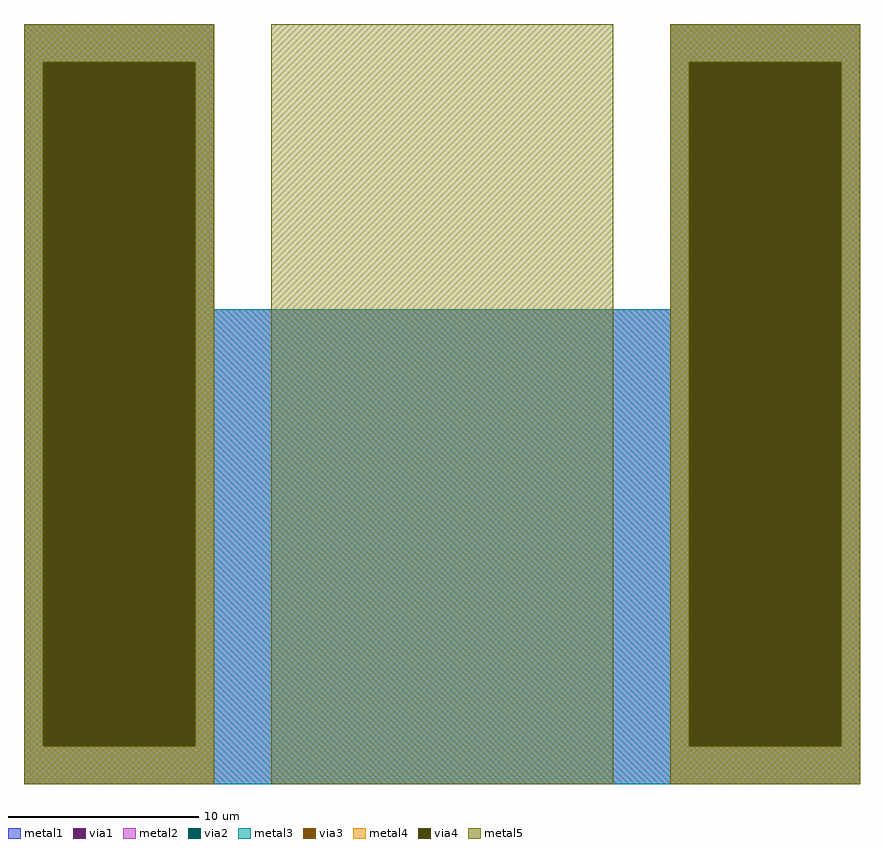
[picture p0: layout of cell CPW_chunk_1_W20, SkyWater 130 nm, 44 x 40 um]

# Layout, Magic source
magic
tech sky130B
<< metal1 >>
rect -1000 3500 0 3700
rect -1000 -100 -900 3500
rect -100 2200 0 3500
rect 2400 3500 3400 3700
rect 2400 2200 2500 3500
rect -100 -100 2500 2200
rect 3300 -100 3400 3500
rect -1000 -300 3400 -100
<< via1 >>
rect -900 -100 -100 3500
rect 2500 -100 3300 3500
<< metal2 >>
rect -1000 3500 0 3700
rect -1000 -100 -900 3500
rect -100 2200 0 3500
rect 2400 3500 3400 3700
rect 2400 2200 2500 3500
rect -100 -100 2500 2200
rect 3300 -100 3400 3500
rect -1000 -300 3400 -100
<< via2 >>
rect -900 -100 -100 3500
rect 2500 -100 3300 3500
<< metal3 >>
rect -1000 3500 0 3700
rect -1000 -100 -900 3500
rect -100 2200 0 3500
rect 2400 3500 3400 3700
rect 2400 2200 2500 3500
rect -100 -100 2500 2200
rect 3300 -100 3400 3500
rect -1000 -300 3400 -100
<< via3 >>
rect -900 -100 -100 3500
rect 2500 -100 3300 3500
<< metal4 >>
rect -1000 3500 0 3700
rect -1000 -100 -900 3500
rect -100 -100 0 3500
rect -1000 -300 0 -100
rect 2400 3500 3400 3700
rect 2400 -100 2500 3500
rect 3300 -100 3400 3500
rect 2400 -300 3400 -100
<< via4 >>
rect -900 -100 -100 3500
rect 2500 -100 3300 3500
<< metal5 >>
rect -1000 3500 0 3700
rect -1000 -100 -900 3500
rect -100 -100 0 3500
rect -1000 -300 0 -100
rect 300 -300 2100 3700
rect 2400 3500 3400 3700
rect 2400 -100 2500 3500
rect 3300 -100 3400 3500
rect 2400 -300 3400 -100
<< end >>
